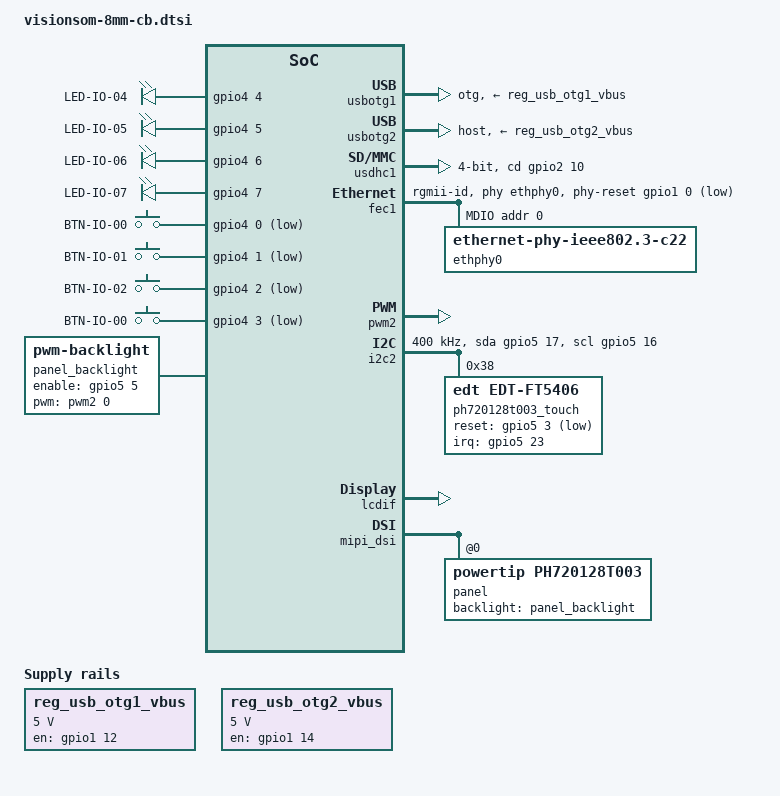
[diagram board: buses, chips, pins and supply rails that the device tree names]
// SPDX-License-Identifier: GPL-2.0-or-later
/*
 * Copyright 2020 SomLabs
 *
 */

/dts-v1/;

#include "visionsom-8mm.dtsi"

/ {
    leds {
        pinctrl-0 = <&pinctrl_gpio_leds_cb>;

        led-io-04 {
            label = "LED-IO-04";
            gpios = <&gpio4 4 0>;
            default-state = "off";
        };
        led-io-05 {
            label = "LED-IO-05";
            gpios = <&gpio4 5 0>;
            default-state = "off";
        };
        led-io-06 {
            label = "LED-IO-06";
            gpios = <&gpio4 6 0>;
            default-state = "off";
        };
        led-io-07 {
            label = "LED-IO-07";
            gpios = <&gpio4 7 0>;
            default-state = "off";
        };
    };

    gpio_buttons: gpio_buttons0 {
        compatible = "gpio-keys";
        pinctrl-names = "default";
        pinctrl-0 = <&pinctrl_gpio_buttons_cb>;
        #address-cells = <1>;
        #size-cells = <0>;

        switch1 {
            label = "BTN-IO-00";
            linux,code = <0x100>;
            gpios = <&gpio4 0 GPIO_ACTIVE_LOW>;
        };

        switch2 {
            label = "BTN-IO-01";
            linux,code = <0x101>;
            gpios = <&gpio4 1 GPIO_ACTIVE_LOW>;
        };

        switch3 {
            label = "BTN-IO-02";
            linux,code = <0x102>;
            gpios = <&gpio4 2 GPIO_ACTIVE_LOW>;
            wakeup-source;
        };

        switch4 {
            label = "BTN-IO-00";
            linux,code = <0x103>;
            gpios = <&gpio4 3 GPIO_ACTIVE_LOW>;
        };
    };

    regulators {

        reg_usb_otg1_vbus: regulator@2 {
            compatible = "regulator-fixed";
            pinctrl-names = "default";
            pinctrl-0 = <&pinctrl_usb_otg1>;
            regulator-name = "usb_otg1_vbus";
            regulator-min-microvolt = <5000000>;
            regulator-max-microvolt = <5000000>;
            gpio = <&gpio1 12 GPIO_ACTIVE_HIGH>;
            enable-active-high;
        };

        reg_usb_otg2_vbus: regulator@3 {
            compatible = "regulator-fixed";
            pinctrl-names = "default";
            pinctrl-0 = <&pinctrl_usb_otg2>;
            regulator-name = "usb_otg2_vbus";
            regulator-min-microvolt = <5000000>;
            regulator-max-microvolt = <5000000>;
            gpio = <&gpio1 14 GPIO_ACTIVE_HIGH>;
            enable-active-high;
        };
    };

    panel_backlight: panel-backlight {
        compatible = "pwm-backlight";
        pinctrl-names = "default";
        pinctrl-0 = <&pinctrl_panel_backlight_en>;
        pwms = <&pwm2 0 100000 0>;

        brightness-levels = < 0  1  2  3  4  5  6  7  8  9
                             10 11 12 13 14 15 16 17 18 19
                             20 21 22 23 24 25 26 27 28 29
                             30 31 32 33 34 35 36 37 38 39
                             40 41 42 43 44 45 46 47 48 49
                             50 51 52 53 54 55 56 57 58 59
                             60 61 62 63 64 65 66 67 68 69
                             70 71 72 73 74 75 76 77 78 79
                             80 81 82 83 84 85 86 87 88 89
                             90 91 92 93 94 95 96 97 98 99
                             100>;
        default-brightness-level = <80>;

        enable-gpios = <&gpio5 5 0>;
    };

};

&iomuxc {
    pinctrl-names = "default";

    visionsom-imx8mm-cb {

        pinctrl_panel_backlight_en: panel_backlight_en {
            fsl,pins = <
                MX8MM_IOMUXC_SPDIF_EXT_CLK_GPIO5_IO5            0x19
            >;
        };

        pinctrl_panel_backlight_pwm: panel_backlight_pwm {
            fsl,pins = <
                MX8MM_IOMUXC_SPDIF_RX_PWM2_OUT                  0x19
            >;
        };

        pinctrl_usb_otg1: usbotg1 {
            fsl,pins = <
                MX8MM_IOMUXC_GPIO1_IO12_GPIO1_IO12              0x19
                MX8MM_IOMUXC_GPIO1_IO13_GPIO1_IO13              0x1c4   /* overcurrent */
            >;
        };

        pinctrl_usb_otg2: usbotg2 {
            fsl,pins = <
                MX8MM_IOMUXC_GPIO1_IO14_GPIO1_IO14              0x19
                MX8MM_IOMUXC_GPIO1_IO15_GPIO1_IO15              0x1c4   /* overcurrent */
            >;
        };

        pinctrl_gpio_leds_cb: gpioledscb {          /* 4x LEDs on  carrier board */
            fsl,pins = <
                MX8MM_IOMUXC_SAI1_RXD2_GPIO4_IO4                0x19
                MX8MM_IOMUXC_SAI1_RXD3_GPIO4_IO5                0x19
                MX8MM_IOMUXC_SAI1_RXD4_GPIO4_IO6                0x19
                MX8MM_IOMUXC_SAI1_RXD5_GPIO4_IO7                0x19
            >;
        };

        pinctrl_gpio_buttons_cb: gpiobuttonscb {      /* 4x buttons on  carrier board */
            fsl,pins = <
                MX8MM_IOMUXC_SAI1_RXFS_GPIO4_IO0                0x19
                MX8MM_IOMUXC_SAI1_RXC_GPIO4_IO1                 0x19
                MX8MM_IOMUXC_SAI1_RXD0_GPIO4_IO2                0x19
                MX8MM_IOMUXC_SAI1_RXD1_GPIO4_IO3                0x19
            >;
        };

        pinctrl_fec1: fec1grp {                       /* ethernet phy */
            fsl,pins = <
                MX8MM_IOMUXC_ENET_MDC_ENET1_MDC                 0x3
                MX8MM_IOMUXC_ENET_MDIO_ENET1_MDIO               0x3
                MX8MM_IOMUXC_ENET_TD3_ENET1_RGMII_TD3           0x1f
                MX8MM_IOMUXC_ENET_TD2_ENET1_RGMII_TD2           0x1f
                MX8MM_IOMUXC_ENET_TD1_ENET1_RGMII_TD1           0x1f
                MX8MM_IOMUXC_ENET_TD0_ENET1_RGMII_TD0           0x1f
                MX8MM_IOMUXC_ENET_RD3_ENET1_RGMII_RD3           0x91
                MX8MM_IOMUXC_ENET_RD2_ENET1_RGMII_RD2           0x91
                MX8MM_IOMUXC_ENET_RD1_ENET1_RGMII_RD1           0x91
                MX8MM_IOMUXC_ENET_RD0_ENET1_RGMII_RD0           0x91
                MX8MM_IOMUXC_ENET_TXC_ENET1_RGMII_TXC           0x1f
                MX8MM_IOMUXC_ENET_RXC_ENET1_RGMII_RXC           0x91
                MX8MM_IOMUXC_ENET_RX_CTL_ENET1_RGMII_RX_CTL     0x91
                MX8MM_IOMUXC_ENET_TX_CTL_ENET1_RGMII_TX_CTL     0x1f
                MX8MM_IOMUXC_GPIO1_IO00_GPIO1_IO0               0x19    /* PHY reset */
            >;
        };

        pinctrl_usdhc1_gpio: usdhc1grpgpio {
            fsl,pins = <
                MX8MM_IOMUXC_SD1_RESET_B_GPIO2_IO10             0x84
                MX8MM_IOMUXC_GPIO1_IO03_GPIO1_IO3               0x41
            >;
        };

        pinctrl_usdhc1: usdhc1grp {
            fsl,pins = <
                MX8MM_IOMUXC_SD1_CLK_USDHC1_CLK                 0x96
                MX8MM_IOMUXC_SD1_CMD_USDHC1_CMD                 0xd6
                MX8MM_IOMUXC_SD1_DATA0_USDHC1_DATA0             0xd6
                MX8MM_IOMUXC_SD1_DATA1_USDHC1_DATA1             0xd6
                MX8MM_IOMUXC_SD1_DATA2_USDHC1_DATA2             0xd6
                MX8MM_IOMUXC_SD1_DATA3_USDHC1_DATA3             0xd6
            >;
        };

        pinctrl_usdhc1_100mhz: usdhc1grp100mhz {
            fsl,pins = <
                MX8MM_IOMUXC_SD1_CLK_USDHC1_CLK                 0x94
                MX8MM_IOMUXC_SD1_CMD_USDHC1_CMD                 0xd4
                MX8MM_IOMUXC_SD1_DATA0_USDHC1_DATA0             0xd4
                MX8MM_IOMUXC_SD1_DATA1_USDHC1_DATA1             0xd4
                MX8MM_IOMUXC_SD1_DATA2_USDHC1_DATA2             0xd4
                MX8MM_IOMUXC_SD1_DATA3_USDHC1_DATA3             0xd4
            >;
        };

        pinctrl_usdhc1_200mhz: usdhc1grp200mhz {
            fsl,pins = <
                MX8MM_IOMUXC_SD1_CLK_USDHC1_CLK                 0x96
                MX8MM_IOMUXC_SD1_CMD_USDHC1_CMD                 0xd6
                MX8MM_IOMUXC_SD1_DATA0_USDHC1_DATA0             0xd6
                MX8MM_IOMUXC_SD1_DATA1_USDHC1_DATA1             0xd6
                MX8MM_IOMUXC_SD1_DATA2_USDHC1_DATA2             0xd6
                MX8MM_IOMUXC_SD1_DATA3_USDHC1_DATA3             0xd6
            >;
        };

        pinctrl_i2c1: i2c1grp {
            fsl,pins = <
                MX8MM_IOMUXC_I2C1_SCL_I2C1_SCL                  0x40000083
                MX8MM_IOMUXC_I2C1_SDA_I2C1_SDA                  0x40000083
            >;
         };

        pinctrl_i2c2: i2c2grp {
            fsl,pins = <
                MX8MM_IOMUXC_I2C2_SCL_I2C2_SCL                  0x40000083
                MX8MM_IOMUXC_I2C2_SDA_I2C2_SDA                  0x40000083
            >;
        };

        pinctrl_i2c2_gpio: i2c2grp-gpio {
            fsl,pins = <
                MX8MM_IOMUXC_I2C2_SCL_GPIO5_IO16                0x083
                MX8MM_IOMUXC_I2C2_SDA_GPIO5_IO17                0x083
            >;
        };

        pinctrl_touch: touchgpio {
            fsl,pins = <
                MX8MM_IOMUXC_UART1_TXD_GPIO5_IO23               0x41    /* interrupt */
                MX8MM_IOMUXC_SPDIF_TX_GPIO5_IO3                 0x19    /* reset */
            >;
        };

    };
};

&usbotg1 {
    dr_mode = "otg";
    vbus-supply = <&reg_usb_otg1_vbus>;
    picophy,pre-emp-curr-control = <3>;
    picophy,dc-vol-level-adjust = <7>;
    status = "okay";
};

&usbotg2 {
    dr_mode = "host";
    vbus-supply = <&reg_usb_otg2_vbus>;
    picophy,pre-emp-curr-control = <3>;
    picophy,dc-vol-level-adjust = <7>;
    status = "okay";
};

&usdhc1 {           /* uSD slot */
    pinctrl-names = "default", "state_100mhz", "state_200mhz";
    pinctrl-0 = <&pinctrl_usdhc1>, <&pinctrl_usdhc1_gpio>;
    pinctrl-1 = <&pinctrl_usdhc1_100mhz>, <&pinctrl_usdhc1_gpio>;
    pinctrl-2 = <&pinctrl_usdhc1_200mhz>, <&pinctrl_usdhc1_gpio>;
    fsl,delay-line = <8>;
    bus-width = <4>;
    no-1-8-v;
    cd-gpios = <&gpio2 10 GPIO_ACTIVE_HIGH>;
    status = "okay";
};

&fec1 {
    pinctrl-names = "default";
    pinctrl-0 = <&pinctrl_fec1>;
    phy-mode = "rgmii-id";
    phy-handle = <&ethphy0>;
    phy-reset-gpios = <&gpio1 0 0>; /* GPIO1_0 */
    fsl,magic-packet;
    status = "okay";

    mdio {
        #address-cells = <1>;
        #size-cells = <0>;

        ethphy0: ethernet-phy@0 {
            compatible = "ethernet-phy-ieee802.3-c22";
            reg = <0>;
        };
    };
};

&pwm2 {
    pinctrl-names = "default";
    pinctrl-0 = <&pinctrl_panel_backlight_pwm>;
    status = "okay";
};

&i2c2 {
    clock-frequency = <400000>;
    pinctrl-names = "default";
    pinctrl-0 = <&pinctrl_i2c2>;
    pinctrl-1 = <&pinctrl_i2c2_gpio>;
    scl-gpios = <&gpio5 16 GPIO_ACTIVE_HIGH>;
    sda-gpios = <&gpio5 17 GPIO_ACTIVE_HIGH>;
    status = "okay";

    ph720128t003_touch: edt-ft5x06@38 {
        compatible = "edt,edt-ft5406", "edt,edt-ft5x06";
        reg = <0x38>;
        pinctrl-names = "default";
        pinctrl-0 = <&pinctrl_touch>;
        interrupt-parent = <&gpio5>;
        interrupts = <23 IRQ_TYPE_EDGE_FALLING>;
        reset-gpios = <&gpio5 3 GPIO_ACTIVE_LOW>;
        touchscreen-size-x = <720>;
        touchscreen-size-y = <1280>;
    };
};

&lcdif {
    status = "okay";
};

&mipi_dsi {
    status = "okay";

    panel@0 {
        pinctrl-names = "default";
        compatible = "powertip,ph720128t003";
        reg = <0>;
        backlight = <&panel_backlight>;
        status = "okay";
    };
};
